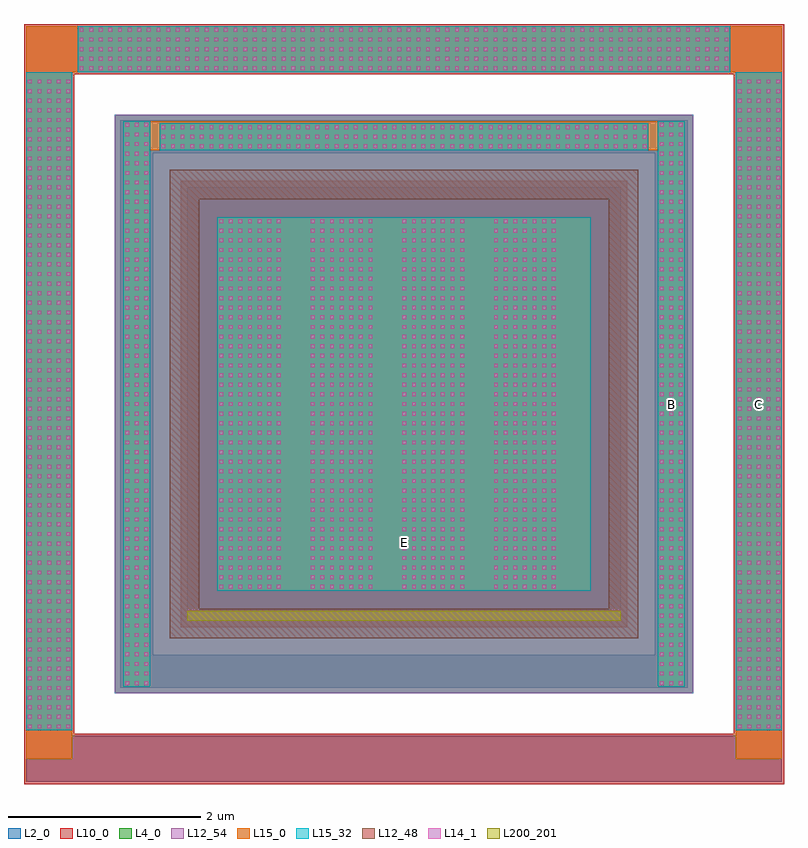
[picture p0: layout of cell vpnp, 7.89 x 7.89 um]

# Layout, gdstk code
import gdstk
lib = gdstk.Library(unit=1e-6, precision=1e-09)
def R(c, l, rs):  # rectangles x0, y0, x1, y1
    for r in rs: c.add(gdstk.rectangle(r[:2], r[2:], *l))
def A(c, l, x, y, w, h, nx, ny, dx, dy):  # array of equal rectangles
    R(c, l, [(x+i*dx, y+j*dy, x+i*dx+w, y+j*dy+h) for i in range(nx) for j in range(ny)])
L2_0 = (2, 0)
L4_0 = (4, 0)
L10_0 = (10, 0)
L12_48 = (12, 48)
L12_54 = (12, 54)
L14_1 = (14, 1)
L15_0 = (15, 0)
L15_32 = (15, 32)
L200_201 = (200, 201)

vpnp = lib.new_cell('vpnp')
R(vpnp, L2_0, [(-10.429,-2.459,-2.577,-1.979), (-10.429,-1.979,-9.949,4.913), (-3.057,-1.979,-2.577,4.913), (-9.449,-1.479,-3.557,-1.139), (-9.449,-1.139,-9.109,4.073), (-3.897,-1.139,-3.557,4.073), (-8.753,-0.783,-4.253,3.717), (-9.449,4.073,-3.557,4.413), (-10.429,4.913,-2.577,5.393)])
R(vpnp, L4_0, [(-9.505,-1.535,-3.501,4.469)])
R(vpnp, L10_0, [(-10.45,-2.48,-2.556,-1.958), (-10.45,-1.958,-9.928,4.892), (-3.078,-1.958,-2.556,4.892), (-8.823,-0.853,-4.183,3.787), (-10.45,4.892,-2.556,5.414)])
R(vpnp, L12_48, [(-8.934,-0.964,-4.072,-0.658), (-8.934,-0.658,-8.628,3.592), (-4.378,-0.658,-4.072,3.592), (-8.934,3.592,-4.072,3.898)])
R(vpnp, L12_54, [(-9.505,-1.535,-3.501,4.469)])
A(vpnp, L14_1, -10.409, -1.903, 0.04, 0.04, 5, 68, 0.1, 0.1)
A(vpnp, L14_1, -3.037, -1.903, 0.04, 0.04, 5, 68, 0.1, 0.1)
A(vpnp, L14_1, -9.399, -1.453, 0.04, 0.04, 3, 59, 0.1, 0.1)
A(vpnp, L14_1, -3.847, -1.453, 0.04, 0.04, 3, 59, 0.1, 0.1)
A(vpnp, L14_1, -8.423, -0.453, 0.04, 0.04, 7, 39, 0.1, 0.1)
A(vpnp, L14_1, -7.471, -0.453, 0.04, 0.04, 7, 39, 0.1, 0.1)
A(vpnp, L14_1, -6.519, -0.453, 0.04, 0.04, 7, 39, 0.1, 0.1)
A(vpnp, L14_1, -5.567, -0.453, 0.04, 0.04, 7, 39, 0.1, 0.1)
A(vpnp, L14_1, -9.023, 4.123, 0.04, 0.04, 51, 3, 0.1, 0.1)
A(vpnp, L14_1, -9.873, 4.933, 0.04, 0.04, 68, 5, 0.1, 0.1)
R(vpnp, L15_0, [(-10.427,-2.219,-9.951,5.391), (-3.055,-2.219,-2.579,5.391), (-9.417,-1.471,-9.141,4.405), (-3.865,-1.471,-3.589,4.405), (-8.441,-0.471,-4.565,3.405), (-9.141,4.105,-3.865,4.405), (-9.951,4.915,-3.055,5.391)])
R(vpnp, L15_32, [(-10.427,-1.921,-9.951,4.915), (-3.055,-1.921,-2.579,4.915), (-9.417,-1.471,-9.141,4.405), (-3.865,-1.471,-3.589,4.405), (-8.441,-0.471,-4.565,3.405), (-9.041,4.105,-3.965,4.381), (-9.891,4.915,-3.115,5.391)])
R(vpnp, L200_201, [(-8.753,-0.783,-4.253,-0.683)])
vpnp.add(gdstk.Label('E', (-6.503,0.029), layer=15, texttype=20))
vpnp.add(gdstk.Label('B', (-3.727,1.467), layer=15, texttype=20))
vpnp.add(gdstk.Label('C', (-2.817,1.467), layer=15, texttype=20))

lib.write_gds('vpnp.gds')
